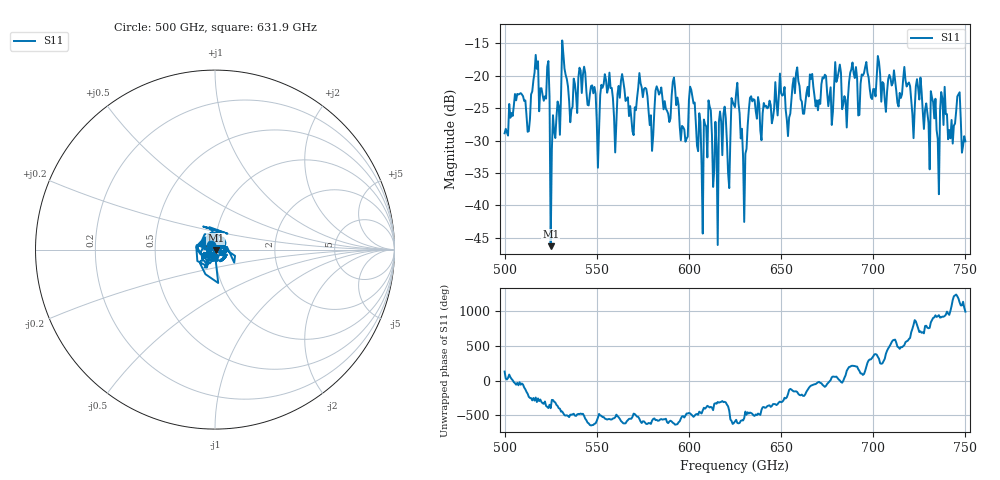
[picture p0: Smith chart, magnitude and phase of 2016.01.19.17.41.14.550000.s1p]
!Created with skrf (http://scikit-rf.org).
# GHz S RI R 50.0
!freq ReS11 ImS11
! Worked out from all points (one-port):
!   401 points, 500 GHz to 750 GHz, reference 50 ohm
!   lowest |S11| = -46.3 dB at 525 GHz (marker M1), VSWR 1.01, Z = 50.4 - j0.291 ohm
!   |S11| at or under -10 dB: start of sweep to end of sweep
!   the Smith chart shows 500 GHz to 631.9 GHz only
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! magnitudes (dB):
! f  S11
! 500 GHz  -28.9
! 513.1 GHz  -28.6
! 516.9 GHz  -16.8
! 523.1 GHz  -18.6
! 525 GHz  -46.3
! 526.2 GHz  -26.1
! 531.2 GHz  -14.6
! 550.6 GHz  -34.2
! 553.8 GHz  -21.3
! 560 GHz  -31.8
! 562.5 GHz  -23.4
! 579.4 GHz  -26.1
! 583.1 GHz  -22.2
! 593.8 GHz  -23.4
! 598.1 GHz  -30.2
! 601.9 GHz  -23.2
! 606.2 GHz  -27.2
! 611.2 GHz  -24.8
! 614.4 GHz  -27.1
! 625 GHz  -24.9
! 630 GHz  -42.6
! 634.4 GHz  -24.0
! 656.2 GHz  -21.5
! 687.5 GHz  -19.6
! 718.8 GHz  -21.3
! 734.4 GHz  -28.4
! 746.2 GHz  -22.9
! 750 GHz  -30.1
